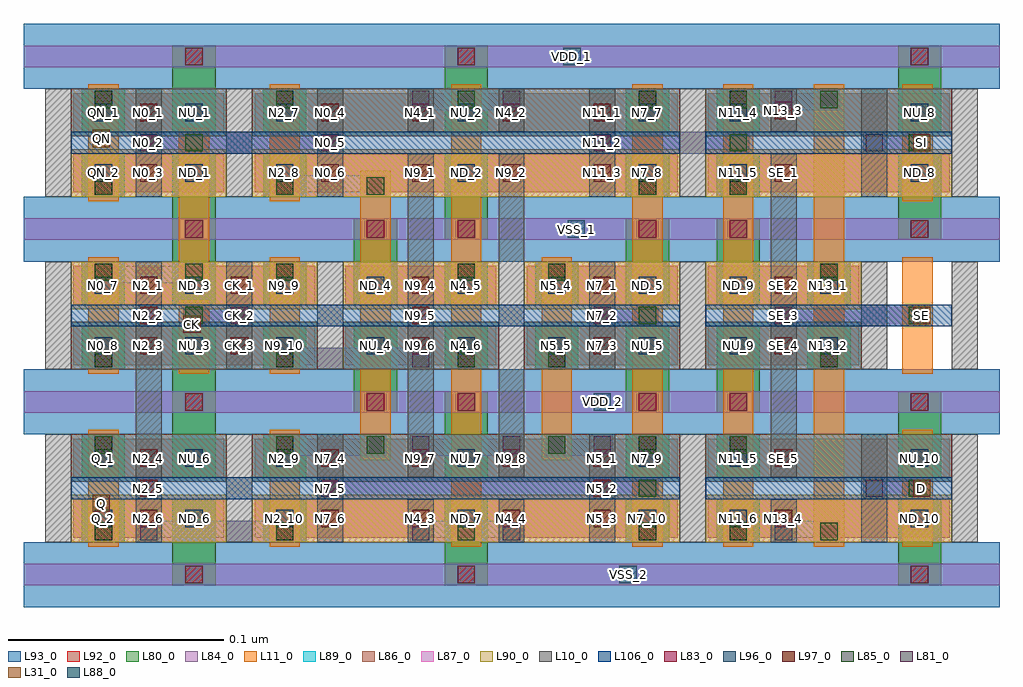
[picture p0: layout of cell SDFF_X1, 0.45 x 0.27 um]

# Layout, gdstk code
import gdstk
lib = gdstk.Library(unit=1e-6, precision=1e-09)
def R(c, l, rs):  # rectangles x0, y0, x1, y1
    for r in rs: c.add(gdstk.rectangle(r[:2], r[2:], *l))
def A(c, l, x, y, w, h, nx, ny, dx, dy):  # array of equal rectangles
    R(c, l, [(x+i*dx, y+j*dy, x+i*dx+w, y+j*dy+h) for i in range(nx) for j in range(ny)])
L10_0 = (10, 0)
L11_0 = (11, 0)
L31_0 = (31, 0)
L80_0 = (80, 0)
L81_0 = (81, 0)
L83_0 = (83, 0)
L84_0 = (84, 0)
L85_0 = (85, 0)
L86_0 = (86, 0)
L87_0 = (87, 0)
L88_0 = (88, 0)
L89_0 = (89, 0)
L90_0 = (90, 0)
L92_0 = (92, 0)
L93_0 = (93, 0)
L96_0 = (96, 0)
L97_0 = (97, 0)
L106_0 = (106, 0)

sdff_x1 = lib.new_cell('SDFF_X1')
A(sdff_x1, L10_0, 0.246, 0.015, 0.012, 0.05, 1, 3, 0, 0.08)
A(sdff_x1, L10_0, 0.288, 0.015, 0.012, 0.05, 1, 3, 0, 0.08)
A(sdff_x1, L10_0, 0.372, 0.015, 0.012, 0.05, 1, 3, 0, 0.08)
A(sdff_x1, L10_0, 0.414, 0.015, 0.012, 0.05, 1, 3, 0, 0.08)
A(sdff_x1, L10_0, -0.006, 0.175, 0.012, 0.05, 4, 1, 0.042, 0)
R(sdff_x1, L10_0, [(-0.006,0.015,0.006,0.065), (0.036,0.015,0.048,0.145), (0.078,0.015,0.09,0.065), (0.12,0.015,0.132,0.065), (0.162,0.015,0.174,0.035), (0.204,0.015,0.216,0.035), (0.33,0.015,0.342,0.035), (0.162,0.045,0.174,0.195), (0.162,0.045,0.174,0.065), (0.204,0.045,0.216,0.195), (0.33,0.045,0.342,0.065), (0.33,0.065,0.342,0.175), (-0.006,0.095,0.006,0.145), (0.078,0.095,0.09,0.145), (0.12,0.095,0.132,0.145), (0.33,0.175,0.342,0.195), (0.162,0.205,0.174,0.225), (0.204,0.205,0.216,0.225), (0.33,0.205,0.342,0.225)])
A(sdff_x1, L11_0, 0.014, 0.013, 0.014, 0.034, 4, 2, 0.084, 0.02)
A(sdff_x1, L11_0, 0.391, 0.013, 0.014, 0.054, 1, 3, 0, 0.08)
A(sdff_x1, L11_0, 0.14, 0.053, 0.014, 0.034, 4, 2, 0.042, 0.02)
A(sdff_x1, L11_0, 0.014, 0.093, 0.014, 0.034, 7, 1, 0.042, 0)
A(sdff_x1, L11_0, 0.098, 0.113, 0.014, 0.034, 5, 1, 0.042, 0)
A(sdff_x1, L11_0, 0.182, 0.133, 0.014, 0.034, 1, 3, 0, 0.02)
A(sdff_x1, L11_0, 0.266, 0.133, 0.014, 0.034, 1, 3, 0, 0.02)
A(sdff_x1, L11_0, 0.014, 0.173, 0.014, 0.034, 3, 1, 0.042, 0)
A(sdff_x1, L11_0, 0.014, 0.193, 0.014, 0.034, 4, 1, 0.084, 0)
R(sdff_x1, L11_0, [(0.308,0.013,0.322,0.047), (0.35,0.013,0.364,0.127), (0.308,0.033,0.322,0.067), (0.308,0.047,0.322,0.207), (0.014,0.113,0.028,0.147), (0.35,0.113,0.364,0.227), (0.056,0.133,0.07,0.167), (0.14,0.133,0.154,0.167), (0.056,0.153,0.07,0.187), (0.14,0.153,0.154,0.187), (0.308,0.193,0.322,0.227)])
A(sdff_x1, L31_0, 0.396, 0.036, 0.008, 0.008, 1, 3, 0, 0.08)
R(sdff_x1, L31_0, [(0.016,0.029,0.024,0.037), (0.058,0.112,0.066,0.12), (0.016,0.198,0.024,0.206)])
A(sdff_x1, L80_0, 0.053, -0.005, 0.02, 0.021, 1, 3, 0, 0.08)
A(sdff_x1, L80_0, 0.011, 0.015, 0.02, 0.02, 3, 2, 0.042, 0.16)
A(sdff_x1, L80_0, 0.053, 0.056, 0.02, 0.029, 1, 3, 0, 0.08)
A(sdff_x1, L80_0, 0.011, 0.095, 0.02, 0.02, 9, 1, 0.042, 0)
R(sdff_x1, L80_0, [(0.179,-0.005,0.199,0.016), (0.389,-0.005,0.409,0.016), (0.179,0.015,0.199,0.035), (0.263,0.015,0.283,0.035), (0.305,0.015,0.325,0.035), (0.389,0.015,0.409,0.035), (0.011,0.045,0.031,0.065), (0.011,0.045,0.031,0.065), (0.053,0.045,0.073,0.065), (0.053,0.045,0.073,0.065), (0.095,0.045,0.115,0.065), (0.095,0.045,0.115,0.065), (0.179,0.045,0.199,0.065), (0.179,0.045,0.199,0.065), (0.263,0.045,0.283,0.065), (0.263,0.045,0.283,0.065), (0.305,0.045,0.325,0.065), (0.305,0.045,0.325,0.065), (0.389,0.045,0.409,0.065), (0.389,0.045,0.409,0.065), (0.179,0.056,0.199,0.085), (0.389,0.056,0.409,0.085), (0.137,0.075,0.157,0.096), (0.263,0.075,0.283,0.096), (0.305,0.075,0.325,0.096), (0.011,0.125,0.031,0.145), (0.011,0.125,0.031,0.145), (0.053,0.125,0.073,0.145), (0.053,0.125,0.073,0.145), (0.095,0.125,0.115,0.145), (0.095,0.125,0.115,0.145), (0.137,0.125,0.157,0.145), (0.137,0.125,0.157,0.145), (0.179,0.125,0.199,0.145), (0.179,0.125,0.199,0.145), (0.221,0.125,0.241,0.145), (0.221,0.125,0.241,0.145), (0.263,0.125,0.283,0.145), (0.263,0.125,0.283,0.145), (0.305,0.125,0.325,0.145), (0.305,0.125,0.325,0.145), (0.347,0.125,0.367,0.145), (0.347,0.125,0.367,0.145), (0.137,0.136,0.157,0.165), (0.263,0.136,0.283,0.165), (0.305,0.136,0.325,0.165), (0.179,0.155,0.199,0.176), (0.389,0.155,0.409,0.176), (0.179,0.175,0.199,0.195), (0.263,0.175,0.283,0.195), (0.305,0.175,0.325,0.195), (0.389,0.175,0.409,0.195), (0.011,0.205,0.031,0.225), (0.011,0.205,0.031,0.225), (0.053,0.205,0.073,0.225), (0.053,0.205,0.073,0.225), (0.095,0.205,0.115,0.225), (0.095,0.205,0.115,0.225), (0.179,0.205,0.199,0.225), (0.179,0.205,0.199,0.225), (0.263,0.205,0.283,0.225), (0.263,0.205,0.283,0.225), (0.305,0.205,0.325,0.225), (0.305,0.205,0.325,0.225), (0.389,0.205,0.409,0.225), (0.389,0.205,0.409,0.225), (0.179,0.216,0.199,0.245), (0.389,0.216,0.409,0.245)])
A(sdff_x1, L81_0, 0.164, 0.056, 0.008, 0.008, 3, 1, 0.042, 0)
R(sdff_x1, L81_0, [(0.038,0.016,0.046,0.024), (0.164,0.016,0.172,0.024), (0.206,0.016,0.214,0.024), (0.332,0.016,0.34,0.024), (0.122,0.036,0.13,0.044), (0.374,0.036,0.382,0.044), (0.164,0.096,0.172,0.104), (0.08,0.116,0.088,0.124), (0.08,0.116,0.088,0.124), (0.248,0.116,0.256,0.124), (0.332,0.116,0.34,0.124), (0.332,0.116,0.34,0.124), (0.038,0.196,0.046,0.204), (0.122,0.196,0.13,0.204), (0.122,0.196,0.13,0.204), (0.248,0.196,0.256,0.204), (0.248,0.196,0.256,0.204), (0.374,0.196,0.382,0.204), (0.164,0.216,0.172,0.224), (0.164,0.216,0.172,0.224), (0.206,0.216,0.214,0.224), (0.206,0.216,0.214,0.224), (0.332,0.216,0.34,0.224)])
A(sdff_x1, L83_0, 0.185, -0.004, 0.008, 0.008, 1, 4, 0, 0.08)
A(sdff_x1, L83_0, 0.395, -0.004, 0.008, 0.008, 1, 4, 0, 0.08)
A(sdff_x1, L83_0, 0.017, 0.096, 0.008, 0.008, 3, 2, 0.084, 0.04)
R(sdff_x1, L83_0, [(0.059,-0.004,0.067,0.004), (0.017,0.016,0.025,0.024), (0.101,0.016,0.109,0.024), (0.269,0.016,0.277,0.024), (0.311,0.016,0.319,0.024), (0.017,0.056,0.025,0.064), (0.101,0.056,0.109,0.064), (0.269,0.056,0.277,0.064), (0.311,0.056,0.319,0.064), (0.059,0.076,0.067,0.084), (0.059,0.076,0.067,0.084), (0.143,0.076,0.151,0.084), (0.269,0.076,0.277,0.084), (0.311,0.076,0.319,0.084), (0.227,0.096,0.235,0.104), (0.353,0.096,0.361,0.104), (0.227,0.136,0.235,0.144), (0.353,0.136,0.361,0.144), (0.059,0.156,0.067,0.164), (0.059,0.156,0.067,0.164), (0.143,0.156,0.151,0.164), (0.269,0.156,0.277,0.164), (0.311,0.156,0.319,0.164), (0.017,0.176,0.025,0.184), (0.101,0.176,0.109,0.184), (0.101,0.176,0.109,0.184), (0.269,0.176,0.277,0.184), (0.269,0.176,0.277,0.184), (0.311,0.176,0.319,0.184), (0.017,0.216,0.025,0.224), (0.017,0.216,0.025,0.224), (0.017,0.216,0.025,0.224), (0.017,0.216,0.025,0.224), (0.017,0.216,0.025,0.224), (0.017,0.216,0.025,0.224), (0.101,0.216,0.109,0.224), (0.101,0.216,0.109,0.224), (0.269,0.216,0.277,0.224), (0.269,0.216,0.277,0.224), (0.311,0.216,0.319,0.224), (0.059,0.236,0.067,0.244)])
A(sdff_x1, L84_0, -0.016, -0.005, 0.452, 0.01, 1, 4, 0, 0.08)
A(sdff_x1, L84_0, 0.016, 0.015, 0.01, 0.01, 1, 3, 0, 0.04)
A(sdff_x1, L84_0, 0.037, 0.015, 0.031, 0.01, 3, 1, 0.021, 0)
A(sdff_x1, L84_0, 0.121, 0.035, 0.031, 0.01, 7, 1, 0.021, 0)
A(sdff_x1, L84_0, 0.1, 0.095, 0.031, 0.01, 3, 1, 0.021, 0)
A(sdff_x1, L84_0, 0.037, 0.195, 0.031, 0.01, 4, 1, 0.021, 0)
R(sdff_x1, L84_0, [(0.163,0.015,0.194,0.025), (0.184,0.015,0.215,0.025), (0.268,0.015,0.278,0.025), (0.31,0.015,0.32,0.025), (0.331,0.015,0.362,0.025), (0.373,0.035,0.403,0.045), (0.1,0.055,0.131,0.065), (0.121,0.055,0.152,0.065), (0.163,0.055,0.215,0.065), (0.226,0.055,0.257,0.065), (0.268,0.055,0.278,0.065), (0.31,0.055,0.32,0.065), (0.184,0.095,0.194,0.105), (0.226,0.095,0.236,0.105), (0.352,0.095,0.362,0.105), (0.058,0.115,0.089,0.125), (0.247,0.115,0.278,0.125), (0.33,0.115,0.403,0.125), (0.016,0.135,0.047,0.145), (0.037,0.135,0.068,0.145), (0.1,0.135,0.11,0.145), (0.184,0.135,0.194,0.145), (0.226,0.135,0.236,0.145), (0.352,0.135,0.362,0.145), (0.016,0.175,0.026,0.185), (0.1,0.175,0.131,0.185), (0.121,0.175,0.152,0.185), (0.268,0.175,0.278,0.185), (0.31,0.175,0.32,0.185), (0.247,0.195,0.32,0.205), (0.373,0.195,0.403,0.205), (0.016,0.215,0.026,0.225), (0.1,0.215,0.11,0.225), (0.163,0.215,0.194,0.225), (0.184,0.215,0.215,0.225), (0.268,0.215,0.278,0.225), (0.31,0.215,0.32,0.225), (0.331,0.215,0.362,0.225)])
A(sdff_x1, L85_0, 0.017, 0.016, 0.008, 0.008, 4, 2, 0.084, 0.2)
A(sdff_x1, L85_0, 0.394, 0.036, 0.008, 0.008, 1, 3, 0, 0.08)
A(sdff_x1, L85_0, 0.227, 0.056, 0.008, 0.008, 3, 1, 0.042, 0)
A(sdff_x1, L85_0, 0.017, 0.096, 0.008, 0.008, 3, 1, 0.084, 0)
A(sdff_x1, L85_0, 0.017, 0.136, 0.008, 0.008, 3, 1, 0.042, 0)
A(sdff_x1, L85_0, 0.311, 0.176, 0.008, 0.008, 1, 3, 0, 0.02)
R(sdff_x1, L85_0, [(0.311,0.016,0.319,0.024), (0.353,0.016,0.361,0.024), (0.269,0.036,0.277,0.044), (0.017,0.056,0.025,0.064), (0.101,0.056,0.109,0.064), (0.143,0.056,0.151,0.064), (0.227,0.096,0.235,0.104), (0.353,0.096,0.361,0.104), (0.059,0.116,0.067,0.124), (0.059,0.116,0.067,0.124), (0.269,0.116,0.277,0.124), (0.185,0.136,0.193,0.144), (0.227,0.136,0.235,0.144), (0.353,0.136,0.361,0.144), (0.017,0.176,0.025,0.184), (0.101,0.176,0.109,0.184), (0.143,0.176,0.151,0.184), (0.269,0.176,0.277,0.184), (0.059,0.196,0.067,0.204), (0.353,0.216,0.361,0.224)])
A(sdff_x1, L86_0, 0.132, 0.095, 0.072, 0.022, 3, 1, 0.084, 0)
R(sdff_x1, L86_0, [(0.006,0.043,0.078,0.065), (0.09,0.043,0.288,0.065), (0.3,0.043,0.414,0.065), (0.006,0.095,0.12,0.117), (0.006,0.203,0.078,0.225), (0.09,0.203,0.288,0.225), (0.3,0.203,0.414,0.225)])
A(sdff_x1, L87_0, 0.132, 0.123, 0.072, 0.022, 3, 1, 0.084, 0)
R(sdff_x1, L87_0, [(0.006,0.015,0.078,0.037), (0.09,0.015,0.288,0.037), (0.3,0.015,0.414,0.037), (0.006,0.123,0.12,0.145), (0.006,0.175,0.078,0.197), (0.09,0.175,0.288,0.197), (0.3,0.175,0.414,0.197)])
R(sdff_x1, L88_0, [(0.26,-0.004,0.268,0.004), (0.248,0.076,0.256,0.084), (0.236,0.156,0.244,0.164), (0.234,0.236,0.242,0.244)])
A(sdff_x1, L89_0, 0.132, 0.095, 0.072, 0.022, 3, 1, 0.084, 0)
R(sdff_x1, L89_0, [(0.006,0.043,0.078,0.065), (0.09,0.043,0.288,0.065), (0.3,0.043,0.414,0.065), (0.006,0.095,0.12,0.117), (0.006,0.203,0.078,0.225), (0.09,0.203,0.288,0.225), (0.3,0.203,0.414,0.225), (0.3,0.203,0.414,0.225)])
A(sdff_x1, L90_0, 0.132, 0.123, 0.072, 0.022, 3, 1, 0.084, 0)
R(sdff_x1, L90_0, [(0.006,0.015,0.078,0.037), (0.09,0.015,0.288,0.037), (0.3,0.015,0.414,0.037), (0.006,0.123,0.12,0.145), (0.006,0.175,0.078,0.197), (0.09,0.175,0.288,0.197), (0.3,0.175,0.414,0.197)])
A(sdff_x1, L92_0, 0.133, 0.097, 0.07, 0.018, 3, 2, 0.084, 0.028)
R(sdff_x1, L92_0, [(0.007,0.017,0.077,0.035), (0.091,0.017,0.287,0.035), (0.301,0.017,0.413,0.035), (0.007,0.045,0.077,0.063), (0.091,0.045,0.287,0.063), (0.301,0.045,0.413,0.063), (0.007,0.097,0.119,0.115), (0.007,0.125,0.119,0.143), (0.259,0.125,0.287,0.143), (0.007,0.177,0.077,0.195), (0.091,0.177,0.287,0.195), (0.301,0.177,0.413,0.195), (0.007,0.205,0.077,0.223), (0.091,0.205,0.287,0.223), (0.301,0.205,0.413,0.223)])
A(sdff_x1, L93_0, -0.016, -0.015, 0.452, 0.03, 1, 4, 0, 0.08)
A(sdff_x1, L96_0, 0.017, 0.022, 0.008, 0.008, 3, 2, 0.042, 0.028)
A(sdff_x1, L96_0, 0.017, 0.102, 0.008, 0.008, 9, 2, 0.042, 0.028)
A(sdff_x1, L96_0, 0.017, 0.182, 0.008, 0.008, 3, 2, 0.042, 0.028)
R(sdff_x1, L96_0, [(0.185,0.022,0.193,0.03), (0.269,0.022,0.277,0.03), (0.311,0.022,0.319,0.03), (0.395,0.022,0.403,0.03), (0.185,0.05,0.193,0.058), (0.269,0.05,0.277,0.058), (0.311,0.05,0.319,0.058), (0.395,0.05,0.403,0.058), (0.185,0.182,0.193,0.19), (0.269,0.182,0.277,0.19), (0.311,0.182,0.319,0.19), (0.395,0.182,0.403,0.19), (0.185,0.21,0.193,0.218), (0.269,0.21,0.277,0.218), (0.311,0.21,0.319,0.218), (0.395,0.21,0.403,0.218)])
A(sdff_x1, L97_0, 0.038, 0.022, 0.008, 0.008, 1, 3, 0, 0.014)
A(sdff_x1, L97_0, 0.122, 0.022, 0.008, 0.008, 4, 2, 0.042, 0.028)
A(sdff_x1, L97_0, 0.038, 0.102, 0.008, 0.008, 1, 3, 0, 0.014)
A(sdff_x1, L97_0, 0.08, 0.102, 0.008, 0.008, 4, 3, 0.084, 0.014)
A(sdff_x1, L97_0, 0.038, 0.182, 0.008, 0.008, 1, 3, 0, 0.014)
A(sdff_x1, L97_0, 0.122, 0.182, 0.008, 0.008, 4, 2, 0.042, 0.028)
R(sdff_x1, L97_0, [(0.332,0.022,0.34,0.03), (0.122,0.036,0.13,0.044), (0.248,0.036,0.256,0.044), (0.332,0.05,0.34,0.058), (0.332,0.182,0.34,0.19), (0.122,0.196,0.13,0.204), (0.248,0.196,0.256,0.204), (0.332,0.211,0.34,0.219)])
A(sdff_x1, L106_0, 0.006, 0.035, 0.282, 0.01, 1, 3, 0, 0.08)
A(sdff_x1, L106_0, 0.3, 0.035, 0.114, 0.01, 1, 3, 0, 0.08)
sdff_x1.add(gdstk.Label('CK', (0.062,0.116), layer=31, texttype=0))
sdff_x1.add(gdstk.Label('Q', (0.02,0.033), layer=31, texttype=0))
sdff_x1.add(gdstk.Label('QN', (0.02,0.202), layer=31, texttype=0))
sdff_x1.add(gdstk.Label('D', (0.4,0.04), layer=31, texttype=0))
sdff_x1.add(gdstk.Label('SE', (0.4,0.12), layer=31, texttype=0))
sdff_x1.add(gdstk.Label('SI', (0.4,0.2), layer=31, texttype=0))
sdff_x1.add(gdstk.Label('VDD_1', (0.238,0.24), layer=88, texttype=0))
sdff_x1.add(gdstk.Label('VDD_2', (0.252,0.08), layer=88, texttype=0))
sdff_x1.add(gdstk.Label('VSS_2', (0.264,0), layer=88, texttype=0))
sdff_x1.add(gdstk.Label('VSS_1', (0.24,0.16), layer=88, texttype=0))
sdff_x1.add(gdstk.Label('ND_6', (0.063,0.026), layer=96, texttype=0))
sdff_x1.add(gdstk.Label('N2_9', (0.105,0.054), layer=96, texttype=0))
sdff_x1.add(gdstk.Label('N2_10', (0.105,0.026), layer=96, texttype=0))
sdff_x1.add(gdstk.Label('ND_7', (0.189,0.026), layer=96, texttype=0))
sdff_x1.add(gdstk.Label('NU_7', (0.189,0.054), layer=96, texttype=0))
sdff_x1.add(gdstk.Label('N7_10', (0.273,0.026), layer=96, texttype=0))
sdff_x1.add(gdstk.Label('ND_5', (0.273,0.134), layer=96, texttype=0))
sdff_x1.add(gdstk.Label('NU_5', (0.273,0.106), layer=96, texttype=0))
sdff_x1.add(gdstk.Label('N5_5', (0.231,0.106), layer=96, texttype=0))
sdff_x1.add(gdstk.Label('N4_6', (0.189,0.106), layer=96, texttype=0))
sdff_x1.add(gdstk.Label('NU_4', (0.147,0.106), layer=96, texttype=0))
sdff_x1.add(gdstk.Label('ND_4', (0.147,0.134), layer=96, texttype=0))
sdff_x1.add(gdstk.Label('N9_9', (0.105,0.134), layer=96, texttype=0))
sdff_x1.add(gdstk.Label('ND_3', (0.063,0.134), layer=96, texttype=0))
sdff_x1.add(gdstk.Label('NU_3', (0.063,0.106), layer=96, texttype=0))
sdff_x1.add(gdstk.Label('N0_8', (0.021,0.106), layer=96, texttype=0))
sdff_x1.add(gdstk.Label('N0_7', (0.021,0.134), layer=96, texttype=0))
sdff_x1.add(gdstk.Label('QN_2', (0.021,0.186), layer=96, texttype=0))
sdff_x1.add(gdstk.Label('QN_1', (0.021,0.214), layer=96, texttype=0))
sdff_x1.add(gdstk.Label('NU_1', (0.063,0.214), layer=96, texttype=0))
sdff_x1.add(gdstk.Label('ND_1', (0.063,0.186), layer=96, texttype=0))
sdff_x1.add(gdstk.Label('N2_7', (0.105,0.214), layer=96, texttype=0))
sdff_x1.add(gdstk.Label('N2_8', (0.105,0.186), layer=96, texttype=0))
sdff_x1.add(gdstk.Label('N7_8', (0.273,0.186), layer=96, texttype=0))
sdff_x1.add(gdstk.Label('N7_7', (0.273,0.214), layer=96, texttype=0))
sdff_x1.add(gdstk.Label('ND_2', (0.189,0.186), layer=96, texttype=0))
sdff_x1.add(gdstk.Label('Q_1', (0.021,0.054), layer=96, texttype=0))
sdff_x1.add(gdstk.Label('NU_6', (0.063,0.054), layer=96, texttype=0))
sdff_x1.add(gdstk.Label('N9_10', (0.105,0.106), layer=96, texttype=0))
sdff_x1.add(gdstk.Label('N4_5', (0.189,0.134), layer=96, texttype=0))
sdff_x1.add(gdstk.Label('N5_4', (0.231,0.134), layer=96, texttype=0))
sdff_x1.add(gdstk.Label('N7_9', (0.273,0.054), layer=96, texttype=0))
sdff_x1.add(gdstk.Label('NU_2', (0.189,0.214), layer=96, texttype=0))
sdff_x1.add(gdstk.Label('Q_2', (0.021,0.026), layer=96, texttype=0))
sdff_x1.add(gdstk.Label('N13_2', (0.357,0.106), layer=96, texttype=0))
sdff_x1.add(gdstk.Label('N13_1', (0.357,0.134), layer=96, texttype=0))
sdff_x1.add(gdstk.Label('NU_9', (0.315,0.106), layer=96, texttype=0))
sdff_x1.add(gdstk.Label('ND_9', (0.315,0.134), layer=96, texttype=0))
sdff_x1.add(gdstk.Label('ND_8', (0.399,0.186), layer=96, texttype=0))
sdff_x1.add(gdstk.Label('NU_8', (0.399,0.214), layer=96, texttype=0))
sdff_x1.add(gdstk.Label('ND_10', (0.399,0.026), layer=96, texttype=0))
sdff_x1.add(gdstk.Label('NU_10', (0.399,0.054), layer=96, texttype=0))
sdff_x1.add(gdstk.Label('N11_5', (0.315,0.054), layer=96, texttype=0))
sdff_x1.add(gdstk.Label('N11_6', (0.315,0.026), layer=96, texttype=0))
sdff_x1.add(gdstk.Label('N11_5', (0.315,0.186), layer=96, texttype=0))
sdff_x1.add(gdstk.Label('N11_4', (0.315,0.214), layer=96, texttype=0))
sdff_x1.add(gdstk.Label('N4_4', (0.21,0.026), layer=97, texttype=0))
sdff_x1.add(gdstk.Label('N5_2', (0.252,0.04), layer=97, texttype=0))
sdff_x1.add(gdstk.Label('N9_5', (0.168,0.12), layer=97, texttype=0))
sdff_x1.add(gdstk.Label('CK_2', (0.084,0.12), layer=97, texttype=0))
sdff_x1.add(gdstk.Label('N9_7', (0.168,0.054), layer=97, texttype=0))
sdff_x1.add(gdstk.Label('N9_8', (0.21,0.054), layer=97, texttype=0))
sdff_x1.add(gdstk.Label('N4_3', (0.168,0.026), layer=97, texttype=0))
sdff_x1.add(gdstk.Label('N7_2', (0.252,0.12), layer=97, texttype=0))
sdff_x1.add(gdstk.Label('N13_3', (0.336,0.215), layer=97, texttype=0))
sdff_x1.add(gdstk.Label('N11_2', (0.252,0.2), layer=97, texttype=0))
sdff_x1.add(gdstk.Label('N9_2', (0.21,0.186), layer=97, texttype=0))
sdff_x1.add(gdstk.Label('N4_2', (0.21,0.214), layer=97, texttype=0))
sdff_x1.add(gdstk.Label('N9_1', (0.168,0.186), layer=97, texttype=0))
sdff_x1.add(gdstk.Label('N4_1', (0.168,0.214), layer=97, texttype=0))
sdff_x1.add(gdstk.Label('N0_5', (0.126,0.2), layer=97, texttype=0))
sdff_x1.add(gdstk.Label('N0_2', (0.042,0.2), layer=97, texttype=0))
sdff_x1.add(gdstk.Label('N2_2', (0.042,0.12), layer=97, texttype=0))
sdff_x1.add(gdstk.Label('N7_5', (0.126,0.04), layer=97, texttype=0))
sdff_x1.add(gdstk.Label('N2_5', (0.042,0.04), layer=97, texttype=0))
sdff_x1.add(gdstk.Label('N13_4', (0.336,0.026), layer=97, texttype=0))
sdff_x1.add(gdstk.Label('N2_6', (0.042,0.026), layer=97, texttype=0))
sdff_x1.add(gdstk.Label('N7_4', (0.126,0.054), layer=97, texttype=0))
sdff_x1.add(gdstk.Label('N2_4', (0.042,0.054), layer=97, texttype=0))
sdff_x1.add(gdstk.Label('N7_6', (0.126,0.026), layer=97, texttype=0))
sdff_x1.add(gdstk.Label('N2_3', (0.042,0.106), layer=97, texttype=0))
sdff_x1.add(gdstk.Label('CK_1', (0.084,0.134), layer=97, texttype=0))
sdff_x1.add(gdstk.Label('CK_3', (0.084,0.106), layer=97, texttype=0))
sdff_x1.add(gdstk.Label('N9_6', (0.168,0.106), layer=97, texttype=0))
sdff_x1.add(gdstk.Label('N9_4', (0.168,0.134), layer=97, texttype=0))
sdff_x1.add(gdstk.Label('N7_3', (0.252,0.106), layer=97, texttype=0))
sdff_x1.add(gdstk.Label('N7_1', (0.252,0.134), layer=97, texttype=0))
sdff_x1.add(gdstk.Label('SE_4', (0.336,0.106), layer=97, texttype=0))
sdff_x1.add(gdstk.Label('SE_3', (0.336,0.12), layer=97, texttype=0))
sdff_x1.add(gdstk.Label('SE_2', (0.336,0.134), layer=97, texttype=0))
sdff_x1.add(gdstk.Label('SE_5', (0.336,0.054), layer=97, texttype=0))
sdff_x1.add(gdstk.Label('SE_1', (0.336,0.186), layer=97, texttype=0))
sdff_x1.add(gdstk.Label('N5_1', (0.252,0.054), layer=97, texttype=0))
sdff_x1.add(gdstk.Label('N5_3', (0.252,0.026), layer=97, texttype=0))
sdff_x1.add(gdstk.Label('N11_3', (0.252,0.186), layer=97, texttype=0))
sdff_x1.add(gdstk.Label('N11_1', (0.252,0.214), layer=97, texttype=0))
sdff_x1.add(gdstk.Label('N2_1', (0.042,0.134), layer=97, texttype=0))
sdff_x1.add(gdstk.Label('N0_3', (0.042,0.186), layer=97, texttype=0))
sdff_x1.add(gdstk.Label('N0_6', (0.126,0.186), layer=97, texttype=0))
sdff_x1.add(gdstk.Label('N0_4', (0.126,0.214), layer=97, texttype=0))
sdff_x1.add(gdstk.Label('N0_1', (0.042,0.214), layer=97, texttype=0))

lib.write_gds('SDFF_X1.gds')
